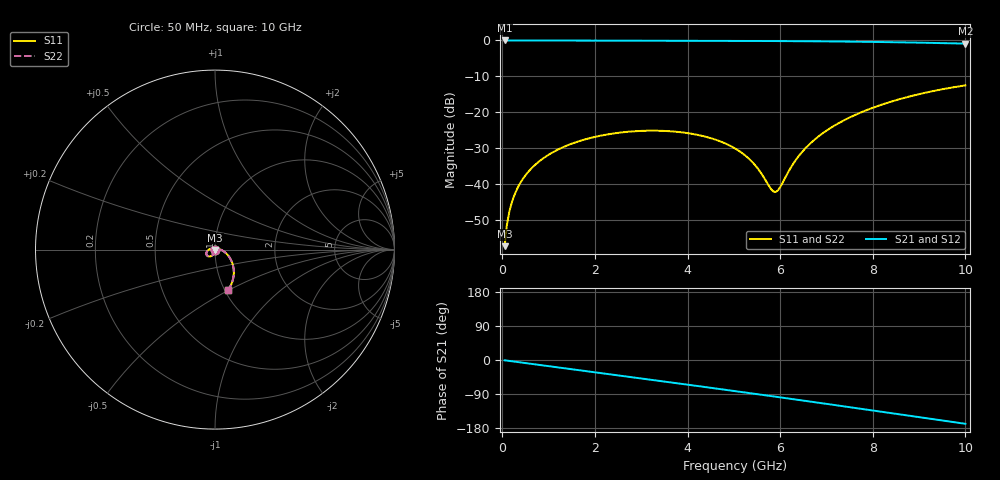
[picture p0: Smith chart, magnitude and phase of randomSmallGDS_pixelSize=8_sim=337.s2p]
! freq	dB(S11)	phase(S11)	dB(S12)	phase(S12)
!  dB(S21)	phase(S21)	dB(S22)	phase(S22)
!S-par simulation data
#  GHz  S  DB  R 50
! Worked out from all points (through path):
!   200 points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, 50 MHz to 10 GHz, reference 50 ohm
!   highest |S21| = 0.00 dB at 50 MHz (marker M1); lowest = -0.9 dB at 10 GHz (marker M2)
!   group delay of S21, straight-line fit = 46.7 ps
!   lowest |S11| = -57.3 dB at 50 MHz (marker M3), VSWR 1.00, Z = 50 - j0.137 ohm
!   |S11| at or under -10 dB: start of sweep to end of sweep
!   |S22| runs from -57.3 to -12.5 dB; largest |S21 - S12| = 0
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0.05  -57.29 -90.2  -0.00 -0.8  -0.00 -0.8  -57.28 -90.2
0.1  -51.29 -91.8  -0.00 -1.6  -0.00 -1.6  -51.29 -91.8
0.2  -45.34 -94.0  -0.00 -3.3  -0.00 -3.3  -45.34 -94.0
0.35  -40.58 -96.7  -0.01 -5.7  -0.01 -5.7  -40.58 -96.7
0.5  -37.56 -99.2  -0.01 -8.2  -0.01 -8.2  -37.56 -99.2
0.7  -34.74 -102.5  -0.01 -11.4  -0.01 -11.4  -34.74 -102.5
1  -31.83 -107.6  -0.02 -16.3  -0.02 -16.3  -31.83 -107.6
1.75  -27.69 -120.2  -0.04 -28.4  -0.04 -28.4  -27.69 -120.2
2.55  -25.65 -133.7  -0.06 -41.4  -0.06 -41.4  -25.65 -133.7
3.4  -25.15 -148.3  -0.08 -55.2  -0.08 -55.2  -25.15 -148.3
4.35  -26.68 -166.2  -0.10 -70.8  -0.10 -70.8  -26.68 -166.2
5.05  -30.25 176.8  -0.12 -82.5  -0.12 -82.5  -30.26 176.9
5.4  -33.88 162.9  -0.14 -88.4  -0.14 -88.4  -33.89 163.0
5.8  -41.33 113.9  -0.16 -95.1  -0.16 -95.1  -41.36 114.0
5.9  -42.20 83.6  -0.17 -96.8  -0.17 -96.8  -42.25 83.6
6  -40.87 53.7  -0.17 -98.5  -0.17 -98.5  -40.91 53.6
6.35  -33.07 9.2  -0.20 -104.5  -0.20 -104.5  -33.08 9.1
6.7  -28.10 -5.8  -0.23 -110.5  -0.23 -110.5  -28.10 -5.9
7.4  -22.10 -23.6  -0.31 -122.7  -0.31 -122.7  -22.10 -23.6
8.35  -17.22 -42.5  -0.47 -139.4  -0.47 -139.4  -17.22 -42.5
9.2  -14.37 -58.1  -0.66 -154.3  -0.66 -154.3  -14.37 -58.1
10  -12.50 -72.2  -0.87 -168.4  -0.87 -168.4  -12.50 -72.2
